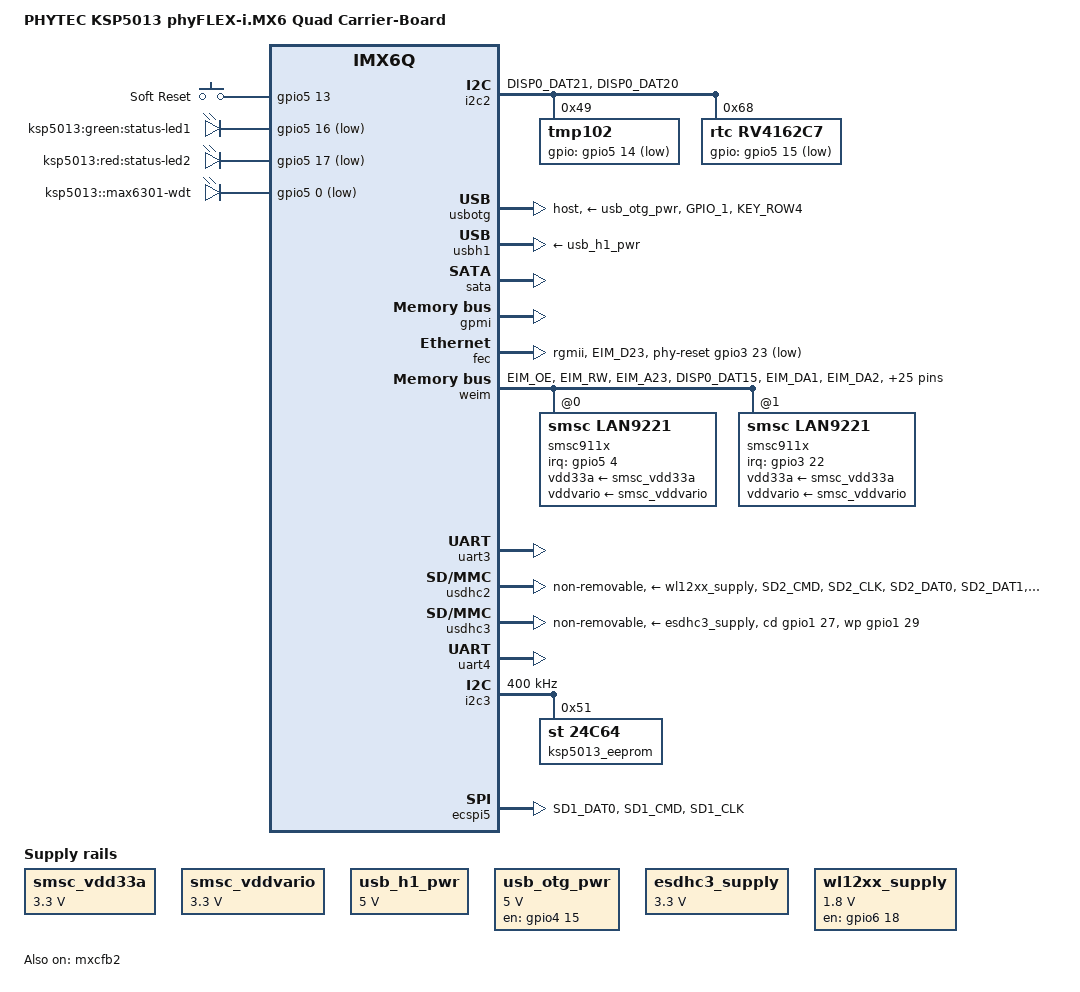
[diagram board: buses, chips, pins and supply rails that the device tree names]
/*
 * Copyright 2013 Christian Hemp, Phytec Messtechnik GmbH
 *
 * The code contained herein is licensed under the GNU General Public
 * License. You may obtain a copy of the GNU General Public License
 * Version 2 or later at the following locations:
 *
 * http://www.opensource.org/licenses/gpl-license.html
 * http://www.gnu.org/copyleft/gpl.html
 */

/dts-v1/;
#include "imx6q-phytec-pfla02.dtsi"
#include "include/dt-bindings/input/input.h"
/ {
	model = "PHYTEC KSP5013 phyFLEX-i.MX6 Quad Carrier-Board";
	compatible = "phytec,ksp5013", "fsl,imx6q";

    regulators {
		compatible = "simple-bus";
        /* Dummy regulators for the SMSC9220 as the driver doesn't honor
         * the supply entries in the dt
         */
        smsc_vdd33a: vdd33a_dummy {
            compatible = "regulator-fixed";
            regulator-name = "vdd33a";
            regulator-always-on;
            regulator-min-microvolt = <3300000>;
            regulator-max-microvolt = <3300000>;
        };
        smsc_vddvario: vddvario_dummy  {
            compatible = "regulator-fixed";
            regulator-name = "vddvario";
            regulator-always-on;
            regulator-min-microvolt = <3300000>;
            regulator-max-microvolt = <3300000>;
        };

        usb_h1_pwr: usb_h1_vbus {
            compatible = "regulator-fixed";
            regulator-name = "usb_h1_vbus";
            regulator-min-microvolt = <5000000>;
            regulator-max-microvolt = <5000000>;
            /* This line is DNI on the CB, but the USB logic may need it, will try without CNC */
            /* gpio = <&gpio1 0x0 GPIO_ACTIVE_HIGH>; */
            enable-active-high;
        };
        usb_otg_pwr: usb_otg_vbus {
            compatible = "regulator-fixed";
            regulator-name = "usb_otg_vbus";
            regulator-min-microvolt = <5000000>;
            regulator-max-microvolt = <5000000>;
            gpio = <&gpio4 15 GPIO_ACTIVE_HIGH>; /* Q7 flips OTG_OTG_PWR to OTG_nVBUS_EN */
            enable-active-high;
        };
        esdhc3_supply: sdmmc_3v3 {
            compatible = "regulator-fixed";
            regulator-name = "sdmmc_3v3";
            regulator-min-microvolt = <3300000>;
            regulator-max-microvolt = <3300000>;
            vin_supply = <&vdd_sd0_reg>;
        };

        /* regulator for wl12xx on SD2(uP)/SD0(CB) */
        wl12xx_supply: wl1271_1p8 {
            compatible = "regulator-fixed";
            regulator-name = "wl12xx-supply"; 
            regulator-min-microvolt = <1800000>;
            regulator-max-microvolt = <1800000>;
            gpio = <&gpio6 18 GPIO_ACTIVE_HIGH>; /* WLAN_EN, Active High */
            startup-delay-us = <70000>;
            enable-active-high;
            vin_supply = <&vdd_sd1_reg>;
        };
    };
	gpio-keys {
		compatible = "gpio-keys";
		pinctrl-0 = <&soft_reset_button>;

		reset {
			label = "Soft Reset";
			linux,code = <KEY_RESTART>; 
			gpios = <&gpio5 13 GPIO_ACTIVE_HIGH>; /* DISP0_DAT19 */
			gpio-key,wakeup;
		};
	};
};

&leds {

    edge-led-green {
        label = "ksp5013:green:status-led1";
        gpios = <&gpio5 16 GPIO_ACTIVE_LOW>;
        linux,default-trigger = "default-on";
    };
    edge-led-red {
        label = "ksp5013:red:status-led2";
        gpios = <&gpio5 17 GPIO_ACTIVE_LOW>;
        linux,default-trigger = "none";
    };
    max6301-wdt {
        label = "ksp5013::max6301-wdt";
        gpios = <&gpio5 0 GPIO_ACTIVE_LOW>;
        linux,default-trigger = "heartbeat";
    };
};

&iomuxc {
    pinctrl-names = "default"; 
	pinctrl-0 = <&pinctrl_hog>, <&pinctrl_hog_2>;
    hog {
        pinctrl_hog_2: hoggrp2 {
            fsl,pins = <
                MX6QDL_PAD_DISP0_DAT22__GPIO5_IO16 0x80000000 /* Edge 2-color LED */
                MX6QDL_PAD_DISP0_DAT23__GPIO5_IO17 0x80000000 /* Edge 2-color LED */
                MX6QDL_PAD_EIM_EB1__GPIO2_IO29     0x100F1    /* WDT_nOE */
                MX6QDL_PAD_EIM_WAIT__GPIO5_IO00    0x130F1    /* WDT_WDI */

                MX6QDL_PAD_KEY_COL1__GPIO4_IO08         0x80000000 /* Dry Contact Output */
                MX6QDL_PAD_KEY_ROW1__GPIO4_IO09         0x80000000 /* Dry Contact Output */
                MX6QDL_PAD_CSI0_DAT10__GPIO5_IO28       0x80000000 /* Dry Contact Input */
                MX6QDL_PAD_CSI0_DAT11__GPIO5_IO29       0x80000000 /* Dry Contact Input */

            >;
        };
    };

    usdhc2 {
        /*
        * TI wl1271 settings
        */
        pinctrl_wl12xx_ksp5013: wl12xxgrp1-ksp5013 {
            fsl,pins = <
                MX6QDL_PAD_SD2_CMD__SD2_CMD         0x170F1 
                MX6QDL_PAD_SD2_CLK__SD2_CLK         0x170F1  /* changed to pullup per TI patches */
                MX6QDL_PAD_SD2_DAT0__SD2_DATA0      0x170F1 
                MX6QDL_PAD_SD2_DAT1__SD2_DATA1      0x170F1 
                MX6QDL_PAD_SD2_DAT2__SD2_DATA2      0x170F1 
                MX6QDL_PAD_SD2_DAT3__SD2_DATA3      0x170F1 
                /* NOTE: Do *NOT* set the WLAN_nIRQ value to 
                    * 0x80000000, will cause failure */
                MX6QDL_PAD_SD3_DAT5__GPIO7_IO00     0x000100F1  /* WLAN_nIRQ */
            >;
        };
        pinctrl_wl12xx_ksp5013_gpio: wl12xxgrp2-ksp5013 {
            fsl,pins = <
                MX6QDL_PAD_SD3_DAT6__GPIO6_IO18    0x130F1  /* WLAN_EN */
            >;
        };
    };
    gpio-keys {
            soft_reset_button: gpiokey-ksp5013 {
                fsl,pins = <
                    MX6QDL_PAD_DISP0_DAT19__GPIO5_IO13 0x80000000 /* KEY_POWER */
                >;
            };
    }; 
    weim {

        /* Pin control for ETH1 via EIM bus */
        pinctrl_weimcs0_ksp5013: weimcs0-ksp5013 {
            fsl,pins = <
                /* nCS (GPIO9) */
                MX6QDL_PAD_EIM_CS0__EIM_CS0_B        0xb0b1
                /* IRQ input from PHY (4.7k PU on line) */
                MX6QDL_PAD_EIM_A24__GPIO5_IO04       0x1f0c1
            >;
        };
        pinctrl_weimcs1_ksp5013: weimcs1-ksp5013 {
            fsl,pins = <
                /* nCS (GPIO10) */
                MX6QDL_PAD_EIM_CS1__EIM_CS1_B        0xb0b1
                /* CNC the pullup on this line is in flux due to boot bug fix for pushpull */
                /* IRQ input from PHY (4.7k PU on line) */
                MX6QDL_PAD_EIM_D22__GPIO3_IO22       0x1f0c1
            >;
        };
        pinctrl_weim_ksp5013: weimfecgrp-ksp5013 {
            fsl,pins = <
                /* Control Lines */
                /* RD# */
                MX6QDL_PAD_EIM_OE__EIM_OE_B          0x1b0b1
                /* WR# */
                MX6QDL_PAD_EIM_RW__EIM_RW            0x1b0b1
                /* FIFO_SEL is output to PHY GPIO6_IO06 (no line pulls) */
                MX6QDL_PAD_EIM_A23__GPIO6_IO06       0x1b0b1
                /* PME Power Wakeup signal from PHY */
                MX6QDL_PAD_DISP0_DAT15__GPIO5_IO09   0x1f0c1

                /* Address Lines (SRE_FAST | HYS) */
                MX6QDL_PAD_EIM_DA1__EIM_AD01         0x0b0b1
                MX6QDL_PAD_EIM_DA2__EIM_AD02         0x0b0b1
                MX6QDL_PAD_EIM_DA3__EIM_AD03         0x0b0b1
                MX6QDL_PAD_EIM_DA4__EIM_AD04         0x0b0b1
                MX6QDL_PAD_EIM_DA5__EIM_AD05         0x0b0b1
                MX6QDL_PAD_EIM_DA6__EIM_AD06         0x0b0b1
                MX6QDL_PAD_EIM_DA7__EIM_AD07         0x0b0b1

                /* Data Lines (SRE_SLOW | ~HYS) */
                MX6QDL_PAD_CSI0_DATA_EN__EIM_DATA00  0x1b0b0        
                MX6QDL_PAD_CSI0_VSYNC__EIM_DATA01    0x1b0b0
                MX6QDL_PAD_CSI0_DAT4__EIM_DATA02     0x1b0b0
                MX6QDL_PAD_CSI0_DAT5__EIM_DATA03     0x1b0b0
                MX6QDL_PAD_CSI0_DAT6__EIM_DATA04     0x1b0b0
                MX6QDL_PAD_CSI0_DAT7__EIM_DATA05     0x1b0b0
                MX6QDL_PAD_CSI0_DAT8__EIM_DATA06     0x1b0b0
                MX6QDL_PAD_CSI0_DAT9__EIM_DATA07     0x1b0b0
                MX6QDL_PAD_CSI0_DAT12__EIM_DATA08    0x1b0b0
                MX6QDL_PAD_CSI0_DAT13__EIM_DATA09    0x1b0b0
                MX6QDL_PAD_CSI0_DAT14__EIM_DATA10    0x1b0b0
                MX6QDL_PAD_CSI0_DAT15__EIM_DATA11    0x1b0b0
                MX6QDL_PAD_CSI0_DAT16__EIM_DATA12    0x1b0b0
                MX6QDL_PAD_CSI0_DAT17__EIM_DATA13    0x1b0b0
                MX6QDL_PAD_CSI0_DAT18__EIM_DATA14    0x1b0b0
                MX6QDL_PAD_CSI0_DAT19__EIM_DATA15    0x1b0b0
            >;
        };
    };
    ecspi5 {
        pinctrl_ecspi5_ksp5013: spi5grp-ksp5013 {
            fsl,pins = <
                MX6QDL_PAD_SD1_DAT0__ECSPI5_MISO 0x100b1
				MX6QDL_PAD_SD1_CMD__ECSPI5_MOSI  0x100b1
				MX6QDL_PAD_SD1_CLK__ECSPI5_SCLK  0x100b1
            >;
        };
    };
    usbotg {
        /* Change USB0_ID to a pulldown, as it isn't connected */
		pinctrl_usbotg_ksp5013: usbotggrp-ksp5013 {
			fsl,pins = <
				/*MX6QDL_PAD_GPIO_1__GPIO1_IO01   0x13059*/
				MX6QDL_PAD_GPIO_1__USB_OTG_ID 0x13059
				MX6QDL_PAD_KEY_ROW4__GPIO4_IO15 0x130F1
			>;
		};
    };
    fec {
        pinctrl_enet_ksp5013: fec1grp-ksp5013 {
            fsl,pins = <
                MX6QDL_PAD_EIM_D23__GPIO3_IO23       0x1b0b1 /* RGMII_nRST */
            >;
        };
    };
    i2c2 {
        pinctrl_rv4167_ksp5013: i2c2rvgrp-ksp5013 {
            fsl,pins = <
                MX6QDL_PAD_DISP0_DAT21__GPIO5_IO15   0x40013059
            >;
        };
        pinctrl_tmp102_ksp5013: i2c2tmpgrp-ksp5013 {
            fsl,pins = <
                MX6QDL_PAD_DISP0_DAT20__GPIO5_IO14   0x40013059
            >;
        };
    };

}; /* iomuxc */

/* This is X_I2C0 in schematic */
&i2c2 {
    pinctrl-names = "default"; 
	pinctrl-0 = <&pinctrl_i2c2_1
                 &pinctrl_rv4167_ksp5013
                 &pinctrl_tmp102_ksp5013
                 >; 
    status = "okay";
    tmp102@49 {
		compatible = "tmp102";
		reg = <0x49>;
        /* DISP0_DAT20 pullup active low */
        gpio = <&gpio5 14 1>;
	};
    rv4162c7@68 {
        compatible = "rtc,rv4162c7";
        reg= <0x68>;
        /* DISP0_DAT21 pullup active low */
        gpio = <&gpio5 15 1>; 
    };
};

/* SPI0 
 * 2 chip selects, 1 for Boot NOR, 1 for DIO 
 */
&ecspi3 {
    fsl,spi-num-chipselects = <2>;
	cs-gpios = <&gpio4 24 GPIO_ACTIVE_HIGH
                &gpio4 25 GPIO_ACTIVE_HIGH>;

};
/* USB0 */
&usbotg {
    vbus-supply = <&usb_otg_pwr>;
    /* GPIO_1 _ID pin */
    pinctrl-names = "default";
    /*pinctrl-0 = <&pinctrl_usbotg_1>;*/
    pinctrl-0 = <&pinctrl_usbotg_ksp5013>;
	dr_mode = "host";
    /* CNC TODO: Revisit this setting as it's connected */
    disable-over-current; 
    status = "okay";
};

/* USB1 via DIO, diff pair only */
&usbh1 {
    vbus-supply = <&usb_h1_pwr>; 
    status = "okay";
};

/* Enable mSATA interface */
&sata {
    status = "okay";
};

/* Enable NAND controller */
&gpmi {
    status = "okay";
};

/* KSZ9031 ETH0 on X12 */
&fec {
    pinctrl-names = "default";
    pinctrl-0 = <&pinctrl_enet_3 &pinctrl_enet_ksp5013>;
    phy-mode = "rgmii";
    phy-reset-gpios = <&gpio3 23 0>;
    status = "okay";
};

&weim {   
    pinctrl-names = "default";
	pinctrl-0 = <&pinctrl_weim_ksp5013
                 &pinctrl_weimcs0_ksp5013 /* ETH2 */
                 &pinctrl_weimcs1_ksp5013 /* ETH1 */
                >;
    clocks = <
        &clks 196 /* eim_slow */
    >; 
    clock-names = "eim_slow";
    status = "okay";
    #address-cells = <2>; 
    #size-cells = <1>; 
    ranges = <
        0 0 0x08000000 0x02000000
        1 0 0x0a000000 0x02000000
    >;
    /* ETH2 (DIO-Only) */
    smsc911x@0,0 {
        compatible = "smsc,lan9221", "smsc,lan9115";
        fsl,weim-cs=<0>;
        clocks = <&clks 196>;
        clock-names = "eim_slow";
        reg = <0 0 0x02000000>;
/*        smsc,memory = <0x00000000 0x01000000>;*/
        phy-mode = "mii";
        #interrupt-cells = <2>;
        interrupt-parent = <&gpio5>;
        interrupts = <4 0x8>;
        interrupt-names = "smsc911x-irq";
/*        smsc,irq = <4>; */

        /* 16-bit i/f */
        reg-shift = <1>;
        reg-io-width = <2>;
        vdd33a-supply = <&smsc_vdd33a>;
        vddvario-supply = <&smsc_vddvario>;
        smsc,save-mac-address;
        smsc,irq-push-pull;
        smsc,force-internal-phy;
		fsl,weim-cs-timing-name = "sync","async";
        fsl,weim-cs-timing = <
           0x152102B7 /* EIM_CSnGCR1 sync */ 
           0x00000000 /* EIM_CSnGCR2 sync */ 
           0x06080000 /* EIM_CSnRCR1 sync */
           0x00000100 /* EIM_CSnRCR2 sync */ 
           0xC4400000 /* EIM_CSnWCR1 sync */ 
           0x00000000 /* EIM_CSnWCR2 both */
        >;
        fsl,weim-cs-timing-0 = <
           0x152102B7 /* EIM_CSnGCR1 sync */ 
           0x00000000 /* EIM_CSnGCR2 sync */ 
           0x06080000 /* EIM_CSnRCR1 sync */
           0x00000100 /* EIM_CSnRCR2 sync */ 
           0xC4400000 /* EIM_CSnWCR1 sync */ 
           0x00000000 /* EIM_CSnWCR2 both */
        >;
        fsl,weim-cs-timing-1 = <
           0x00010031 /* EIM_CSnGCR1 async */
           0x00000000 /* EIM_CSnGCR2 async */
           0x16027202 /* EIM_CSnRCR1 async */
           0x00000002 /* EIM_CSnRCR2 async */
           0x16080E82 /* EIM_CSnWCR1 async */
           0x00000000 /* EIM_CSnWCR2 both */
        >;
    };
    /* ETH1 (RJ45) */
    smsc911x@1,0 {
        compatible = "smsc,lan9221", "smsc,lan9115";
        fsl,weim-cs=<1>;
        clocks = <&clks 196>;
        clock-names = "eim_slow";
        reg = <1 0 0x02000000>;
/*        smsc,memory = <0x00000000 0x01000000>;*/
        phy-mode = "mii";
        #interrupt-cells = <2>;
        interrupt-parent = <&gpio3>;
        interrupts = <22 0x8>;
        interrupt-names = "smsc911x-irq";
/*        smsc,irq = <22>; */

        /* 16-bit i/f */
        reg-shift = <1>;
        reg-io-width = <2>;
        vdd33a-supply = <&smsc_vdd33a>;
        vddvario-supply = <&smsc_vddvario>;
        smsc,save-mac-address;
        smsc,irq-push-pull;
        smsc,force-internal-phy;
		fsl,weim-cs-timing-name = "sync","async";
        fsl,weim-cs-timing = <
           0x152102B7 /* EIM_CSnGCR1 sync */ 
           0x00000000 /* EIM_CSnGCR2 sync */ 
           0x06080000 /* EIM_CSnRCR1 sync */
           0x00000100 /* EIM_CSnRCR2 sync */ 
           0xC4400000 /* EIM_CSnWCR1 sync */ 
           0x00000000 /* EIM_CSnWCR2 both */
        >;
        fsl,weim-cs-timing-0 = <
           0x152102B7 /* EIM_CSnGCR1 sync */ 
           0x00000000 /* EIM_CSnGCR2 sync */ 
           0x06080000 /* EIM_CSnRCR1 sync */
           0x00000100 /* EIM_CSnRCR2 sync */ 
           0xC4400000 /* EIM_CSnWCR1 sync */ 
           0x00000000 /* EIM_CSnWCR2 both */
        >;

        fsl,weim-cs-timing-1 = <
           0x00010031 /* EIM_CSnGCR1 async */
           0x00000000 /* EIM_CSnGCR2 async */
           0x16027202 /* EIM_CSnRCR1 async */
           0x00000002 /* EIM_CSnRCR2 async */
           0x16080E82 /* EIM_CSnWCR1 async */
           0x00000000 /* EIM_CSnWCR2 both */
        >;

    };
};

/* Console/UART1 (X5) */
&uart3 {
	pinctrl-names = "default";
	pinctrl-0 = <&pinctrl_uart3_pfla02>;
	status = "okay";
};

/* WLAN via SDIO */
&usdhc2 {
    pinctrl-names = "default";
    pinctrl-0 = <
        &pinctrl_wl12xx_ksp5013
        &pinctrl_wl12xx_ksp5013_gpio
    >;
    vmmc-supply-name = "wl12xx-supply"; 
    vmmc-supply = <&wl12xx_supply>;
    non-removable; 
    max-frequency  = <38400000>;
    /* cap-power-off-card; */
	status = "okay";
};

/* SD Card Slot */
&usdhc3 {
    pinctrl-names = "default";
    pinctrl-0 = <
        &pinctrl_usdhc3_pfla02_def
    >;
    cd-gpios = <&gpio1 27 GPIO_ACTIVE_HIGH>;
    wp-gpios = <&gpio1 29 GPIO_ACTIVE_HIGH>;
    vmmc-supply-name = "vmmc_3v3"; 
    vmmc-supply = <&esdhc3_supply>; 
    non-removable; 
    status = "okay";
};

/* DIO-Only Interfaces */

/* UART0 (DIO) */
&uart4 {
	pinctrl-names = "default";
	pinctrl-0 = <&pinctrl_uart4_1>;
	status = "okay";
};

/* X_I2C1 (DIO) */
&i2c3 {
	clock-frequency = <400000>;
	pinctrl-names = "default";
	pinctrl-0 = <&pinctrl_i2c3_1>;
	status = "okay";

        ksp5013_eeprom:eeprom@51 {
                compatible = "st,24c64";
                reg = <0x51>;
                pagesize = <32>;
                status = "okay";
        };
};

/* SPI1 (DIO) */
&ecspi5 {
	pinctrl-names = "default";
	pinctrl-0 = <&pinctrl_ecspi5_ksp5013>;
    fsl,spi-num-chipselects = <1>;
	cs-gpios = <&gpio1 17 GPIO_ACTIVE_HIGH>;
    status = "okay";
};



/* Disable unneeded interfaces */


&pwm1 {
	status = "disabled";
};

&ldb {
    status = "disabled";
};
&mxcfb1 {
	status = "disabled";
};

&mxcfb2 {
	status = "okay";
};

&can1 {
    status = "disabled"; 
};
